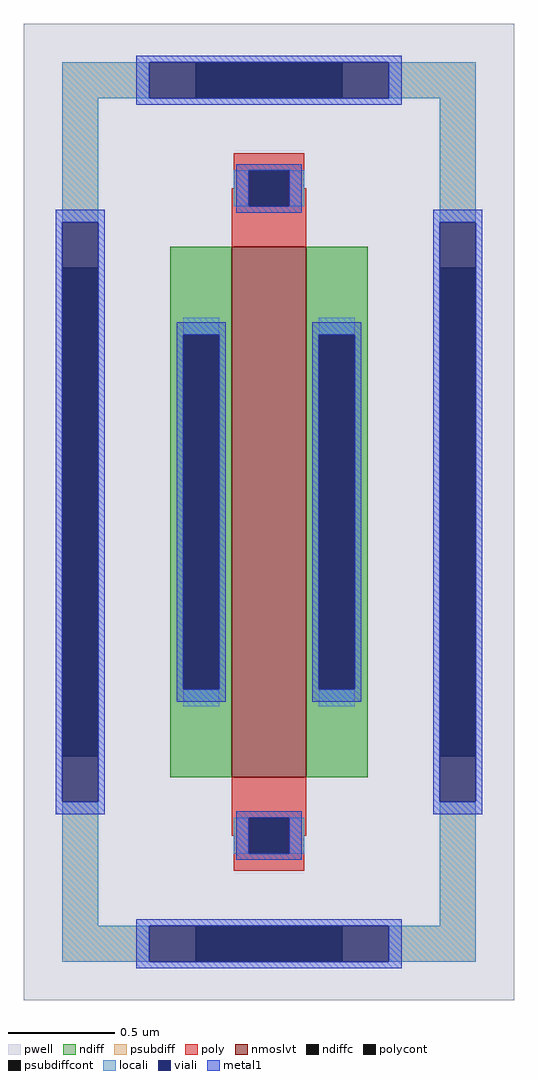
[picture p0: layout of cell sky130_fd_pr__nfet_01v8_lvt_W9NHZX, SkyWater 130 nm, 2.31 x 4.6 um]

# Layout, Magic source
magic
tech sky130A
magscale 1 2
<< pwell >>
rect -231 -460 231 460
<< nmoslvt >>
rect -35 -250 35 250
<< ndiff >>
rect -93 167 -35 250
rect -93 -167 -81 167
rect -47 -167 -35 167
rect -93 -250 -35 -167
rect 35 167 93 250
rect 35 -167 47 167
rect 81 -167 93 167
rect 35 -250 93 -167
<< ndiffc >>
rect -81 -167 -47 167
rect 47 -167 81 167
<< psubdiff >>
rect -195 390 -69 424
rect 69 390 195 424
rect -195 230 -161 390
rect -195 -390 -161 -230
rect 161 230 195 390
rect 161 -390 195 -230
rect -195 -424 -69 -390
rect 69 -424 195 -390
<< psubdiffcont >>
rect -69 390 69 424
rect -195 -230 -161 230
rect 161 -230 195 230
rect -69 -424 69 -390
<< poly >>
rect -33 322 33 338
rect -33 305 -17 322
rect -35 288 -17 305
rect 17 305 33 322
rect 17 288 35 305
rect -35 250 35 288
rect -35 -288 35 -250
rect -35 -305 -17 -288
rect -33 -322 -17 -305
rect 17 -305 35 -288
rect 17 -322 33 -305
rect -33 -338 33 -322
<< polycont >>
rect -17 288 17 322
rect -17 -322 17 -288
<< locali >>
rect -195 390 -113 424
rect 113 390 195 424
rect -195 273 -161 390
rect -33 288 -19 322
rect 19 288 33 322
rect 161 273 195 390
rect -81 167 -47 183
rect -81 -183 -47 -167
rect 47 167 81 183
rect 47 -183 81 -167
rect -195 -390 -161 -273
rect -33 -322 -19 -288
rect 19 -322 33 -288
rect 161 -390 195 -273
rect -195 -424 -113 -390
rect 113 -424 195 -390
<< viali >>
rect -113 390 -69 424
rect -69 390 69 424
rect 69 390 113 424
rect -19 288 -17 322
rect -17 288 17 322
rect 17 288 19 322
rect -195 230 -161 273
rect -195 -230 -161 230
rect 161 230 195 273
rect -81 -167 -47 167
rect 47 -167 81 167
rect -195 -273 -161 -230
rect 161 -230 195 230
rect 161 -273 195 -230
rect -19 -322 -17 -288
rect -17 -322 17 -288
rect 17 -322 19 -288
rect -113 -424 -69 -390
rect -69 -424 69 -390
rect 69 -424 113 -390
<< metal1 >>
rect -125 424 125 430
rect -125 390 -113 424
rect 113 390 125 424
rect -125 384 125 390
rect -31 322 31 328
rect -31 288 -19 322
rect 19 288 31 322
rect -201 273 -155 285
rect -31 282 31 288
rect -201 -273 -195 273
rect -161 -273 -155 273
rect 155 273 201 285
rect -87 167 -41 179
rect -87 -167 -81 167
rect -47 -167 -41 167
rect -87 -179 -41 -167
rect 41 167 87 179
rect 41 -167 47 167
rect 81 -167 87 167
rect 41 -179 87 -167
rect -201 -285 -155 -273
rect 155 -273 161 273
rect 195 -273 201 273
rect -31 -288 31 -282
rect 155 -285 201 -273
rect -31 -322 -19 -288
rect 19 -322 31 -288
rect -31 -328 31 -322
rect -125 -390 125 -384
rect -125 -424 -113 -390
rect 113 -424 125 -390
rect -125 -430 125 -424
<< properties >>
string FIXED_BBOX -178 -407 178 407
string gencell sky130_fd_pr__nfet_01v8_lvt
string library sky130
string parameters w 2.5 l 0.35 m 1 nf 1 diffcov 70 polycov 70 guard 1 glc 1 grc 1 gtc 1 gbc 1 tbcov 70 rlcov 70 topc 1 botc 1 poverlap 0 doverlap 1 lmin 0.15 wmin 0.42 compatible {sky130_fd_pr__nfet_01v8 sky130_fd_pr__nfet_01v8_lvt  sky130_fd_bs_flash__special_sonosfet_star  sky130_fd_pr__nfet_g5v0d10v5 sky130_fd_pr__nfet_05v0_nvt  sky130_fd_pr__nfet_03v3_nvt} full_metal 1 viasrc 70 viadrn 70 viagate 100 viagb 70 viagr 70 viagl 70 viagt 70
<< end >>
